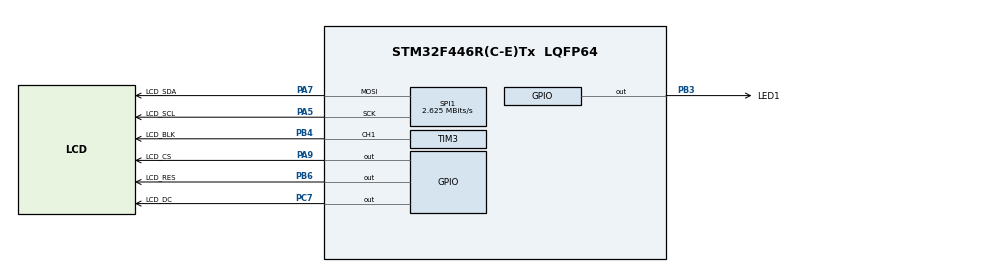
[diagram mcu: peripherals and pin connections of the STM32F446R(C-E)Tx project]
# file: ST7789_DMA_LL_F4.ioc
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Dma.Request0=SPI1_TX
Dma.SPI1_TX.0.Direction=DMA_MEMORY_TO_PERIPH
Dma.SPI1_TX.0.FIFOMode=DMA_FIFOMODE_DISABLE
Dma.SPI1_TX.0.Instance=DMA2_Stream3
Dma.SPI1_TX.0.MemDataAlignment=DMA_MDATAALIGN_HALFWORD
Dma.SPI1_TX.0.MemInc=DMA_MINC_ENABLE
Dma.SPI1_TX.0.Mode=DMA_NORMAL
Dma.SPI1_TX.0.PeriphDataAlignment=DMA_PDATAALIGN_HALFWORD
Dma.SPI1_TX.0.PeriphInc=DMA_PINC_DISABLE
Dma.SPI1_TX.0.Priority=DMA_PRIORITY_LOW
Mcu.Family=STM32F4
Mcu.Name=STM32F446R(C-E)Tx
Mcu.Package=LQFP64
NVIC.DMA2_Stream3_IRQn=true\:3\:0\:true\:false\:true\:false\:true\:true
NVIC.PriorityGroup=NVIC_PRIORITYGROUP_4
NVIC.SPI1_IRQn=true\:0\:0\:false\:false\:true\:true\:true\:true
PA13.Mode=Serial_Wire
PA13.Signal=SYS_JTMS-SWDIO
PA14.Mode=Serial_Wire
PA14.Signal=SYS_JTCK-SWCLK
PA5.GPIO_Label=LCD_SCL
PA5.Mode=TX_Only_Simplex_Unidirect_Master
PA5.Signal=SPI1_SCK
PA7.GPIO_Label=LCD_SDA
PA7.Mode=TX_Only_Simplex_Unidirect_Master
PA7.Signal=SPI1_MOSI
PA9.GPIO_Label=LCD_CS
PA9.GPIO_Speed=GPIO_SPEED_FREQ_HIGH
PA9.PinState=GPIO_PIN_SET
PA9.Signal=GPIO_Output
PB3.GPIO_Label=LED1
PB3.Signal=GPIO_Output
PB4.GPIO_Label=LCD_BLK
PB4.Signal=S_TIM3_CH1
PB6.GPIO_Label=LCD_RES
PB6.GPIO_Speed=GPIO_SPEED_FREQ_HIGH
PB6.PinState=GPIO_PIN_SET
PB6.Signal=GPIO_Output
PC7.GPIO_Label=LCD_DC
PC7.GPIO_Speed=GPIO_SPEED_FREQ_HIGH
PC7.PinState=GPIO_PIN_SET
PC7.Signal=GPIO_Output
ProjectManager.HeapSize=0x200
ProjectManager.StackSize=0x400
ProjectManager.TargetToolchain=STM32CubeIDE
RCC.AHBFreq_Value=84000000
RCC.APB1CLKDivider=RCC_HCLK_DIV2
RCC.APB1Freq_Value=42000000
RCC.APB1TimFreq_Value=84000000
RCC.APB2Freq_Value=84000000
RCC.APB2TimFreq_Value=84000000
RCC.CortexFreq_Value=84000000
RCC.HCLKFreq_Value=84000000
RCC.HSE_VALUE=20000000
RCC.PLLM=8
RCC.PLLN=84
RCC.SYSCLKFreq_VALUE=84000000
RCC.SYSCLKSource=RCC_SYSCLKSOURCE_PLLRCLK
RCC.USBFreq_Value=84000000
RCC.VCOOutputFreq_Value=168000000
SH.S_TIM3_CH1.0=TIM3_CH1,PWM Generation1 CH1
SPI1.BaudRatePrescaler=SPI_BAUDRATEPRESCALER_32
SPI1.CLKPhase=SPI_PHASE_1EDGE
SPI1.CLKPolarity=SPI_POLARITY_HIGH
SPI1.CalculateBaudRate=2.625 MBits/s
SPI1.DataSize=SPI_DATASIZE_8BIT
SPI1.Direction=SPI_DIRECTION_2LINES
SPI1.Mode=SPI_MODE_MASTER
SPI1.VirtualType=VM_MASTER
TIM3.Channel-PWM\ Generation1\ CH1=TIM_CHANNEL_1
TIM3.Period=210-1
TIM3.Prescaler=1000-1
TIM3.Pulse-PWM\ Generation1\ CH1=210-1
board=custom

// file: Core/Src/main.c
/* USER CODE BEGIN Header */
/*
 *	Драйвер управления дисплеями по SPI
 *  Author: VadRov
 *  Copyright (C) 2019 - 2022, VadRov, all right reserved.
 *
 *  Допускается свободное распространение без целей коммерческого использования.
 *  При коммерческом использовании необходимо согласование с автором.
 *  Распространятся по типу "как есть", то есть использование осуществляете на свой страх и риск.
 *  Автор не предоставляет никаких гарантий.
 *
 *  Версия: 1.4 (CMSIS и LL) для STM32F4
 *
 *  https://www.youtube.com/@VadRov
 *  https://dzen.ru/vadrov
 *  https://vk.com/vadrov
 *  https://t.me/vadrov_channel
*/
/* USER CODE END Header */
#include "main.h"

/* USER CODE BEGIN Includes */
#include "display.h"
#include "st7789.h"
#include <stdlib.h>
/* USER CODE END Includes */

/* USER CODE BEGIN PV */
volatile uint32_t millis = 0;
/* USER CODE END PV */

void SystemClock_Config(void);
static void MX_GPIO_Init(void);
static void MX_DMA_Init(void);
static void MX_SPI1_Init(void);
static void MX_TIM3_Init(void);

int main(void)
{

  /* USER CODE BEGIN 1 */
	/* включаем кэширование инструкций */
	#if (INSTRUCTION_CACHE_ENABLE != 0U)
		((FLASH_TypeDef *) ((0x40000000UL + 0x00020000UL) + 0x3C00UL))->ACR |= (0x1UL << (9U));
	#endif
	/* включаем кэширование данных */
	#if (DATA_CACHE_ENABLE != 0U)
		((FLASH_TypeDef *) ((0x40000000UL + 0x00020000UL) + 0x3C00UL))->ACR |= (0x1UL << (10U));
	#endif
	/* включаем систему предварительной выборки инструкций*/
	#if (PREFETCH_ENABLE != 0U)
		((FLASH_TypeDef *) ((0x40000000UL + 0x00020000UL) + 0x3C00UL))->ACR |= (0x1UL << (8U));
	#endif
  /* USER CODE END 1 */

  /* MCU Configuration--------------------------------------------------------*/

  /* Reset of all peripherals, Initializes the Flash interface and the Systick. */
  LL_APB2_GRP1_EnableClock(LL_APB2_GRP1_PERIPH_SYSCFG);
  LL_APB1_GRP1_EnableClock(LL_APB1_GRP1_PERIPH_PWR);

  /* System interrupt init*/
  NVIC_SetPriorityGrouping(NVIC_PRIORITYGROUP_4);

  /* SysTick_IRQn interrupt configuration */
  NVIC_SetPriority(SysTick_IRQn, NVIC_EncodePriority(NVIC_GetPriorityGrouping(),15, 0));

  /* Configure the system clock */
  SystemClock_Config();

  /* USER CODE BEGIN SysInit */
  //настраиваем системный таймер (прерывания 1000 раз в секунду)
  SysTick_Config(SystemCoreClock/1000);
  /* USER CODE END SysInit */

  /* Initialize all configured peripherals */
  MX_GPIO_Init();
  MX_DMA_Init();
  MX_SPI1_Init();
  MX_TIM3_Init();
  /* USER CODE BEGIN 2 */

  LCD_DMA_TypeDef dma_tx = { DMA2,
		  	  	  	  	     LL_DMA_STREAM_3 };

  LCD_BackLight_data bkl_data = { TIM3,
		  	  	  	  	  	  	  LL_TIM_CHANNEL_CH1,
								  0,
								  0,
								  50  };

  LCD_SPI_Connected_data spi_con = { SPI1,
		  	  	  	  	  	  	  	 dma_tx,
									 LCD_RES_GPIO_Port,
									 LCD_RES_Pin,
									 LCD_DC_GPIO_Port,
									 LCD_DC_Pin,
									 LCD_CS_GPIO_Port,
								 	 LCD_CS_Pin         };

#ifndef LCD_DYNAMIC_MEM
  LCD_Handler lcd1;
#endif

/*  Для дисплея на контроллере ST7789   */
  LCD = LCD_DisplayAdd( LCD,
#ifndef LCD_DYNAMIC_MEM
		  	  	  	  	&lcd1,
#endif
		  	  	  	  	170,
		   				320,
						ST7789_CONTROLLER_WIDTH,
						ST7789_CONTROLLER_HEIGHT,
						//Задаем смещение по ширине и высоте для нестандартных или бракованных дисплеев:
						35,		//смещение по ширине дисплейной матрицы
						0,		//смещение по высоте дисплейной матрицы
						PAGE_ORIENTATION_LANDSCAPE_MIRROR,
						ST7789_Init,
						ST7789_SetWindow,
						ST7789_SleepIn,
						ST7789_SleepOut,
						&spi_con,
						LCD_DATA_16BIT_BUS,
						bkl_data );

  LCD_Handler *lcd = LCD; //указатель на первый дисплей в списке
  LCD_Init(lcd);
  //LCD_Fill(lcd, COLOR_DARKGREEN);
  //LCD_Fill(lcd, COLOR_WHITE);
  LCD_WriteString(lcd, 0, 0, "Hello, world!", &Font_15x25, COLOR_YELLOW, COLOR_RED, LCD_SYMBOL_PRINT_FAST);
  LL_GPIO_SetOutputPin(LED1_GPIO_Port, LED1_Pin);
  LL_mDelay(1000);

  LL_GPIO_ResetOutputPin(LED1_GPIO_Port, LED1_Pin);
  LCD_WriteString(lcd, 0, 40, "Anglas, funcionaaa!", &Font_15x25, COLOR_BLUE, COLOR_YELLOW, LCD_SYMBOL_PRINT_FAST);
  LL_mDelay(1000);

  LCD_Fill(lcd, COLOR_BLUE);
  LL_mDelay(200);
  LL_GPIO_SetOutputPin(LED1_GPIO_Port, LED1_Pin);
  LL_GPIO_ResetOutputPin(LED1_GPIO_Port, LED1_Pin);
  LL_GPIO_SetOutputPin(LED1_GPIO_Port, LED1_Pin);

  //LCD_Fill(lcd, COLOR_WHITE);
  //LL_mDelay(1000);

  /* USER CODE END 2 */

  /* Infinite loop */
  /* USER CODE BEGIN WHILE */

  while (1)
  {
	  LL_GPIO_SetOutputPin(LED1_GPIO_Port, LED1_Pin);LL_mDelay(100);
	  LL_GPIO_ResetOutputPin(LED1_GPIO_Port, LED1_Pin);LL_mDelay(100);
    /* USER CODE END WHILE */

  }
}

void SystemClock_Config(void)
{
  LL_FLASH_SetLatency(LL_FLASH_LATENCY_2);
  while(LL_FLASH_GetLatency()!= LL_FLASH_LATENCY_2)
  {
  }
  LL_PWR_SetRegulVoltageScaling(LL_PWR_REGU_VOLTAGE_SCALE3);
  LL_PWR_DisableOverDriveMode();
  LL_RCC_HSI_SetCalibTrimming(16);
  LL_RCC_HSI_Enable();

   /* Wait till HSI is ready */
  while(LL_RCC_HSI_IsReady() != 1)
  {

  }
  LL_RCC_PLL_ConfigDomain_SYS(LL_RCC_PLLSOURCE_HSI, LL_RCC_PLLM_DIV_8, 84, LL_RCC_PLLR_DIV_2);
  LL_RCC_PLL_Enable();

   /* Wait till PLL is ready */
  while(LL_RCC_PLL_IsReady() != 1)
  {

  }
  while (LL_PWR_IsActiveFlag_VOS() == 0)
  {
  }
  LL_RCC_SetAHBPrescaler(LL_RCC_SYSCLK_DIV_1);
  LL_RCC_SetAPB1Prescaler(LL_RCC_APB1_DIV_2);
  LL_RCC_SetAPB2Prescaler(LL_RCC_APB2_DIV_1);
  LL_RCC_SetSysClkSource(LL_RCC_SYS_CLKSOURCE_PLLR);

   /* Wait till System clock is ready */
  while(LL_RCC_GetSysClkSource() != LL_RCC_SYS_CLKSOURCE_STATUS_PLLR)
  {

  }
  LL_Init1msTick(84000000);
  LL_SetSystemCoreClock(84000000);
  LL_RCC_SetTIMPrescaler(LL_RCC_TIM_PRESCALER_TWICE);
}

static void MX_SPI1_Init(void)
{

  LL_SPI_InitTypeDef SPI_InitStruct = {0};

  LL_GPIO_InitTypeDef GPIO_InitStruct = {0};

  /* Peripheral clock enable */
  LL_APB2_GRP1_EnableClock(LL_APB2_GRP1_PERIPH_SPI1);

  LL_AHB1_GRP1_EnableClock(LL_AHB1_GRP1_PERIPH_GPIOA);
  /**SPI1 GPIO Configuration
  PA5   ------> SPI1_SCK
  PA7   ------> SPI1_MOSI
  */
  GPIO_InitStruct.Pin = LCD_SCL_Pin|LCD_SDA_Pin;
  GPIO_InitStruct.Mode = LL_GPIO_MODE_ALTERNATE;
  GPIO_InitStruct.Speed = LL_GPIO_SPEED_FREQ_VERY_HIGH;
  GPIO_InitStruct.OutputType = LL_GPIO_OUTPUT_PUSHPULL;
  GPIO_InitStruct.Pull = LL_GPIO_PULL_NO;
  GPIO_InitStruct.Alternate = LL_GPIO_AF_5;
  LL_GPIO_Init(GPIOA, &GPIO_InitStruct);

  /* SPI1 DMA Init */

  /* SPI1_TX Init */
  LL_DMA_SetChannelSelection(DMA2, LL_DMA_STREAM_3, LL_DMA_CHANNEL_3);

  LL_DMA_SetDataTransferDirection(DMA2, LL_DMA_STREAM_3, LL_DMA_DIRECTION_MEMORY_TO_PERIPH);

  LL_DMA_SetStreamPriorityLevel(DMA2, LL_DMA_STREAM_3, LL_DMA_PRIORITY_LOW);

  LL_DMA_SetMode(DMA2, LL_DMA_STREAM_3, LL_DMA_MODE_NORMAL);

  LL_DMA_SetPeriphIncMode(DMA2, LL_DMA_STREAM_3, LL_DMA_PERIPH_NOINCREMENT);

  LL_DMA_SetMemoryIncMode(DMA2, LL_DMA_STREAM_3, LL_DMA_MEMORY_INCREMENT);

  LL_DMA_SetPeriphSize(DMA2, LL_DMA_STREAM_3, LL_DMA_PDATAALIGN_HALFWORD);

  LL_DMA_SetMemorySize(DMA2, LL_DMA_STREAM_3, LL_DMA_MDATAALIGN_HALFWORD);

  LL_DMA_DisableFifoMode(DMA2, LL_DMA_STREAM_3);

  /* SPI1 interrupt Init */
  NVIC_SetPriority(SPI1_IRQn, NVIC_EncodePriority(NVIC_GetPriorityGrouping(),0, 0));
  NVIC_EnableIRQ(SPI1_IRQn);

  /* SPI1 parameter configuration*/
  SPI_InitStruct.TransferDirection = LL_SPI_FULL_DUPLEX;
  SPI_InitStruct.Mode = LL_SPI_MODE_MASTER;
  SPI_InitStruct.DataWidth = LL_SPI_DATAWIDTH_8BIT;
  SPI_InitStruct.ClockPolarity = LL_SPI_POLARITY_HIGH;
  SPI_InitStruct.ClockPhase = LL_SPI_PHASE_1EDGE;
  SPI_InitStruct.NSS = LL_SPI_NSS_SOFT;
  SPI_InitStruct.BaudRate = LL_SPI_BAUDRATEPRESCALER_DIV32;
  SPI_InitStruct.BitOrder = LL_SPI_MSB_FIRST;
  SPI_InitStruct.CRCCalculation = LL_SPI_CRCCALCULATION_DISABLE;
  SPI_InitStruct.CRCPoly = 10;
  LL_SPI_Init(SPI1, &SPI_InitStruct);
  LL_SPI_SetStandard(SPI1, LL_SPI_PROTOCOL_MOTOROLA);

}

static void MX_TIM3_Init(void)
{

  LL_TIM_InitTypeDef TIM_InitStruct = {0};
  LL_TIM_OC_InitTypeDef TIM_OC_InitStruct = {0};

  LL_GPIO_InitTypeDef GPIO_InitStruct = {0};

  /* Peripheral clock enable */
  LL_APB1_GRP1_EnableClock(LL_APB1_GRP1_PERIPH_TIM3);

  TIM_InitStruct.Prescaler = 999;
  TIM_InitStruct.CounterMode = LL_TIM_COUNTERMODE_UP;
  TIM_InitStruct.Autoreload = 210-LL_TIM_IC_FILTER_FDIV1_N2;
  TIM_InitStruct.ClockDivision = LL_TIM_CLOCKDIVISION_DIV1;
  LL_TIM_Init(TIM3, &TIM_InitStruct);
  LL_TIM_DisableARRPreload(TIM3);
  LL_TIM_OC_EnablePreload(TIM3, LL_TIM_CHANNEL_CH1);
  TIM_OC_InitStruct.OCMode = LL_TIM_OCMODE_PWM1;
  TIM_OC_InitStruct.OCState = LL_TIM_OCSTATE_DISABLE;
  TIM_OC_InitStruct.OCNState = LL_TIM_OCSTATE_DISABLE;
  TIM_OC_InitStruct.CompareValue = 210-LL_TIM_IC_FILTER_FDIV1_N2;
  TIM_OC_InitStruct.OCPolarity = LL_TIM_OCPOLARITY_HIGH;
  LL_TIM_OC_Init(TIM3, LL_TIM_CHANNEL_CH1, &TIM_OC_InitStruct);
  LL_TIM_OC_DisableFast(TIM3, LL_TIM_CHANNEL_CH1);
  LL_TIM_SetTriggerOutput(TIM3, LL_TIM_TRGO_RESET);
  LL_TIM_DisableMasterSlaveMode(TIM3);
  LL_AHB1_GRP1_EnableClock(LL_AHB1_GRP1_PERIPH_GPIOB);
  /**TIM3 GPIO Configuration
  PB4   ------> TIM3_CH1
  */
  GPIO_InitStruct.Pin = LCD_BLK_Pin;
  GPIO_InitStruct.Mode = LL_GPIO_MODE_ALTERNATE;
  GPIO_InitStruct.Speed = LL_GPIO_SPEED_FREQ_LOW;
  GPIO_InitStruct.OutputType = LL_GPIO_OUTPUT_PUSHPULL;
  GPIO_InitStruct.Pull = LL_GPIO_PULL_NO;
  GPIO_InitStruct.Alternate = LL_GPIO_AF_2;
  LL_GPIO_Init(LCD_BLK_GPIO_Port, &GPIO_InitStruct);

}

static void MX_DMA_Init(void)
{

  /* Init with LL driver */
  /* DMA controller clock enable */
  LL_AHB1_GRP1_EnableClock(LL_AHB1_GRP1_PERIPH_DMA2);

  /* DMA interrupt init */
  /* DMA2_Stream3_IRQn interrupt configuration */
  NVIC_SetPriority(DMA2_Stream3_IRQn, NVIC_EncodePriority(NVIC_GetPriorityGrouping(),3, 0));
  NVIC_EnableIRQ(DMA2_Stream3_IRQn);

}

static void MX_GPIO_Init(void)
{
  LL_GPIO_InitTypeDef GPIO_InitStruct = {0};

  /* GPIO Ports Clock Enable */
  LL_AHB1_GRP1_EnableClock(LL_AHB1_GRP1_PERIPH_GPIOA);
  LL_AHB1_GRP1_EnableClock(LL_AHB1_GRP1_PERIPH_GPIOC);
  LL_AHB1_GRP1_EnableClock(LL_AHB1_GRP1_PERIPH_GPIOB);

  /**/
  LL_GPIO_SetOutputPin(LCD_DC_GPIO_Port, LCD_DC_Pin);

  /**/
  LL_GPIO_SetOutputPin(LCD_CS_GPIO_Port, LCD_CS_Pin);

  /**/
  LL_GPIO_SetOutputPin(LCD_RES_GPIO_Port, LCD_RES_Pin);

  /**/
  LL_GPIO_ResetOutputPin(LED1_GPIO_Port, LED1_Pin);

  /**/
  GPIO_InitStruct.Pin = LCD_DC_Pin;
  GPIO_InitStruct.Mode = LL_GPIO_MODE_OUTPUT;
  GPIO_InitStruct.Speed = LL_GPIO_SPEED_FREQ_HIGH;
  GPIO_InitStruct.OutputType = LL_GPIO_OUTPUT_PUSHPULL;
  GPIO_InitStruct.Pull = LL_GPIO_PULL_NO;
  LL_GPIO_Init(LCD_DC_GPIO_Port, &GPIO_InitStruct);

  /**/
  GPIO_InitStruct.Pin = LCD_CS_Pin;
  GPIO_InitStruct.Mode = LL_GPIO_MODE_OUTPUT;
  GPIO_InitStruct.Speed = LL_GPIO_SPEED_FREQ_HIGH;
  GPIO_InitStruct.OutputType = LL_GPIO_OUTPUT_PUSHPULL;
  GPIO_InitStruct.Pull = LL_GPIO_PULL_NO;
  LL_GPIO_Init(LCD_CS_GPIO_Port, &GPIO_InitStruct);

  /**/
  GPIO_InitStruct.Pin = LED1_Pin;
  GPIO_InitStruct.Mode = LL_GPIO_MODE_OUTPUT;
  GPIO_InitStruct.Speed = LL_GPIO_SPEED_FREQ_LOW;
  GPIO_InitStruct.OutputType = LL_GPIO_OUTPUT_PUSHPULL;
  GPIO_InitStruct.Pull = LL_GPIO_PULL_NO;
  LL_GPIO_Init(LED1_GPIO_Port, &GPIO_InitStruct);

  /**/
  GPIO_InitStruct.Pin = LCD_RES_Pin;
  GPIO_InitStruct.Mode = LL_GPIO_MODE_OUTPUT;
  GPIO_InitStruct.Speed = LL_GPIO_SPEED_FREQ_HIGH;
  GPIO_InitStruct.OutputType = LL_GPIO_OUTPUT_PUSHPULL;
  GPIO_InitStruct.Pull = LL_GPIO_PULL_NO;
  LL_GPIO_Init(LCD_RES_GPIO_Port, &GPIO_InitStruct);

}

void Error_Handler(void)
{
  __disable_irq();
  while (1)
  {
  }
}
